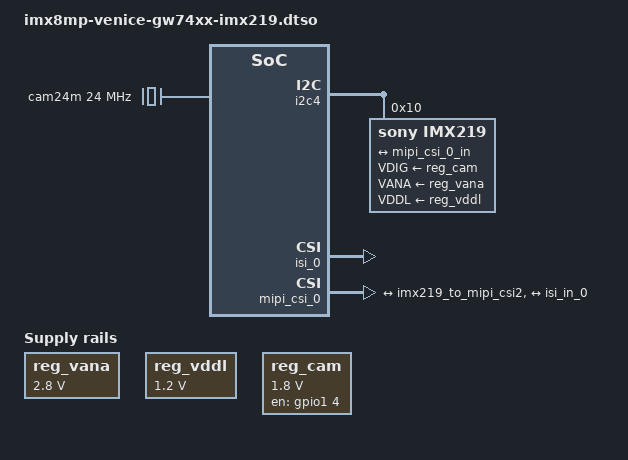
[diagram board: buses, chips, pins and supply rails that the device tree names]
// SPDX-License-Identifier: (GPL-2.0+ OR MIT)
/*
 * Copyright 2023 Gateworks Corporation
 */

#include <dt-bindings/gpio/gpio.h>

#include "imx8mp-pinfunc.h"

/dts-v1/;
/plugin/;

&{/} {
	reg_vana: regulator-2p8v {
		compatible = "regulator-fixed";
		regulator-name = "2P8V";
		regulator-min-microvolt = <2800000>;
		regulator-max-microvolt = <2800000>;
	};

	reg_vddl: regulator-1p2v {
		compatible = "regulator-fixed";
		regulator-name = "1P2V";
		regulator-min-microvolt = <1200000>;
		regulator-max-microvolt = <1200000>;
	};

	reg_cam: regulator-cam {
		pinctrl-names = "default";
		pinctrl-0 = <&pinctrl_reg_cam>;
		compatible = "regulator-fixed";
		regulator-name = "reg_cam";
		gpio = <&gpio1 4 GPIO_ACTIVE_HIGH>;
		enable-active-high;
		regulator-min-microvolt = <1800000>;
		regulator-max-microvolt = <1800000>;
	};

	cam24m: cam24m {
		compatible = "fixed-clock";
		#clock-cells = <0>;
		clock-frequency = <24000000>;
		clock-output-names = "cam24m";
	};
};

&i2c4 {
	#address-cells = <1>;
	#size-cells = <0>;

	imx219: sensor@10 {
		compatible = "sony,imx219";
		reg = <0x10>;
		clocks = <&cam24m>;
		VDIG-supply = <&reg_cam>;
		VANA-supply = <&reg_vana>;
		VDDL-supply = <&reg_vddl>;

		port {
			/* MIPI CSI-2 bus endpoint */
			imx219_to_mipi_csi2: endpoint {
				remote-endpoint = <&mipi_csi_0_in>;
				clock-lanes = <0>;
				data-lanes = <1 2>;
				link-frequencies = /bits/ 64 <456000000>;
			};
		};
	};
};

&isi_0 {
	status = "okay";
};

&mipi_csi_0 {
	status = "okay";

	ports {
		#address-cells = <1>;
		#size-cells = <0>;

		port@0 {
			reg = <0>;

			mipi_csi_0_in: endpoint {
				remote-endpoint = <&imx219_to_mipi_csi2>;
				data-lanes = <1 2>;
			};
		};

		port@1 {
			reg = <1>;

			mipi_csi_0_out: endpoint {
				remote-endpoint = <&isi_in_0>;
			};
		};
	};
};

&iomuxc {
	pinctrl_reg_cam: regcamgrp {
		fsl,pins = <
			MX8MP_IOMUXC_GPIO1_IO04__GPIO1_IO04	0x41
		>;
	};
};
